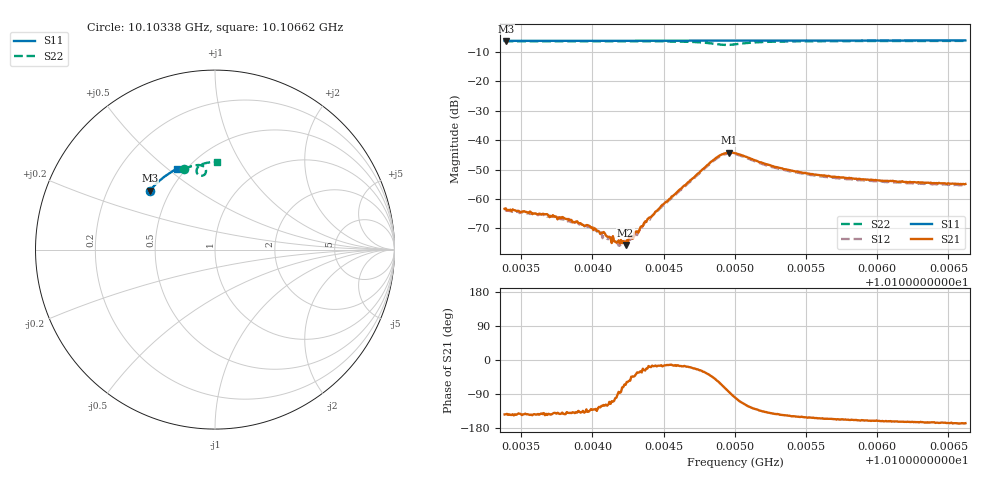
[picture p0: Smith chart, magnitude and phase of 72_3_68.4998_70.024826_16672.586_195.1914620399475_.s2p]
#  HZ  S  RI  R  50.00
! Rohde & Schwarz Vector Network Analyzer
! Rohde-Schwarz,ZNB20-2Port,1311601062101988,3.16
! Created: UTC 3/20/2024, 4:51:48 PM
! freq[Hz]  re:S11  im:S11  re:S21  im:S21  re:S12  im:S12  re:S22  im:S22
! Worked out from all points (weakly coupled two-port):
!   401 points, 10.10338 GHz to 10.10662 GHz, reference 50 ohm
!   highest |S21| = -44.20 dB at 10.10496 GHz (marker M1); lowest = -75.6 dB at 10.10423 GHz (marker M2)
!   lowest |S11| = -6.2 dB at 10.10339 GHz (marker M3), VSWR 2.92, Z = 19.3 + j16.7 ohm
!   |S11| at or under -10 dB: nowhere
!   |S22| runs from -7.6 to -6.2 dB; largest |S21 - S12| = 0.00063
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1.0103384e10  -0.3633 0.3281  -0.000552 -0.000405  -0.000466 -0.000435  -0.1747 0.449
1.0103392e10  -0.363 0.3284  -0.000556 -0.000416  -0.000481 -0.000436  -0.1741 0.4495
1.0103715e10  -0.3501 0.3435  -0.000404 -0.000304  -0.000378 -0.000336  -0.1534 0.4576
1.0103804e10  -0.3466 0.3475  -0.000375 -0.000284  -0.000355 -0.000295  -0.1476 0.4597
1.0103877e10  -0.3435 0.3508  -0.000308 -0.000258  -0.000294 -0.000269  -0.1425 0.4615
1.0103926e10  -0.3415 0.3529  -0.000271 -0.000247  -0.000219 -0.000273  -0.1391 0.4625
1.0103998e10  -0.3384 0.356  -0.000218 -0.000246  -0.000172 -0.000242  -0.134 0.4642
1.0104087e10  -0.3346 0.3598  -0.000131 -0.000225  -8.22e-05 -0.000213  -0.1274 0.4658
1.0104136e10  -0.3324 0.3621  -5.73e-05 -0.00017  -5.02e-05 -0.000218  -0.124 0.4668
1.0104184e10  -0.3305 0.3641  2.03e-05 -0.000197  1.02e-05 -0.000161  -0.1202 0.4678
1.0104233e10  -0.3284 0.3664  6.89e-05 -0.000151  9.54e-05 -0.000158  -0.1163 0.4686
1.0104314e10  -0.3248 0.3696  0.000237 -0.000154  0.000212 -0.000121  -0.1095 0.4698
1.0104354e10  -0.323 0.3714  0.000318 -0.000135  0.000331 -0.000121  -0.1061 0.4702
1.0104468e10  -0.318 0.376  0.00066 -0.000177  0.00065 -0.000126  -0.0952 0.4712
1.0104848e10  -0.3005 0.3911  0.00318 -0.00327  0.00332 -0.00287  -0.0501 0.4364
1.0104912e10  -0.2974 0.3935  0.00226 -0.00531  0.0026 -0.00489  -0.0608 0.4162
1.0104961e10  -0.2952 0.3951  0.000494 -0.00615  0.00104 -0.00583  -0.0794 0.4111
1.0105001e10  -0.2935 0.3969  -0.000978 -0.00593  -0.000431 -0.00578  -0.093 0.417
1.0105309e10  -0.279 0.4084  -0.00274 -0.00204  -0.00245 -0.00214  -0.0852 0.4684
1.0105543e10  -0.2675 0.4168  -0.00236 -0.00122  -0.00217 -0.00135  -0.0644 0.4783
1.0106085e10  -0.2399 0.4347  -0.00192 -0.000637  -0.00181 -0.000782  -0.0239 0.4866
1.0106619e10  -0.2117 0.4505  -0.00176 -0.000413  -0.00163 -0.000498  0.0124 0.4891
